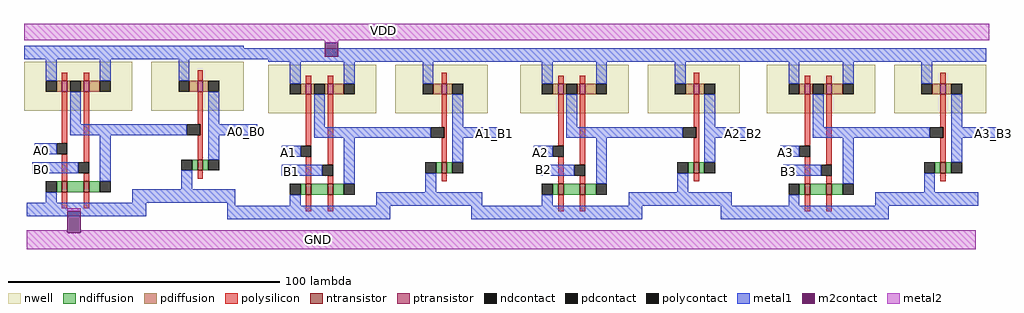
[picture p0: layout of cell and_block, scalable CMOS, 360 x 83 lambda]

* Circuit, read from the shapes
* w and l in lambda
.subckt and_block A0 A0_B0 A1 A1_B1 A2 A2_B2 A3 A3_B3 B0 B1 B2 B3 GND VDD
M1 n1 A0 GND VSUBS nfet w=4 l=2
M2 2_input_AND_0/OUT B0 n1 VSUBS nfet w=4 l=2
M3 A0_B0 2_input_AND_0/OUT GND VSUBS nfet w=4 l=2
M4 n2 A1 GND VSUBS nfet w=4 l=2
M5 2_input_AND_1/OUT B1 n2 VSUBS nfet w=4 l=2
M6 A1_B1 2_input_AND_1/OUT GND VSUBS nfet w=4 l=2
M7 n3 A2 GND VSUBS nfet w=4 l=2
M8 2_input_AND_2/OUT B2 n3 VSUBS nfet w=4 l=2
M9 A2_B2 2_input_AND_2/OUT GND VSUBS nfet w=4 l=2
M10 n4 A3 GND VSUBS nfet w=4 l=2
M11 2_input_AND_3/OUT B3 n4 VSUBS nfet w=4 l=2
M12 A3_B3 2_input_AND_3/OUT GND VSUBS nfet w=4 l=2
M13 2_input_AND_0/OUT A0 VDD n5 pfet w=4 l=2
M14 VDD B0 2_input_AND_0/OUT n5 pfet w=4 l=2
M15 A0_B0 2_input_AND_0/OUT VDD n6 pfet w=4 l=2
M16 2_input_AND_1/OUT A1 VDD n7 pfet w=4 l=2
M17 VDD B1 2_input_AND_1/OUT n7 pfet w=4 l=2
M18 A1_B1 2_input_AND_1/OUT VDD n8 pfet w=4 l=2
M19 2_input_AND_2/OUT A2 VDD n9 pfet w=4 l=2
M20 VDD B2 2_input_AND_2/OUT n9 pfet w=4 l=2
M21 A2_B2 2_input_AND_2/OUT VDD n10 pfet w=4 l=2
M22 2_input_AND_3/OUT A3 VDD n11 pfet w=4 l=2
M23 VDD B3 2_input_AND_3/OUT n11 pfet w=4 l=2
M24 A3_B3 2_input_AND_3/OUT VDD n12 pfet w=4 l=2
.ends

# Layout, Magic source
magic
tech scmos
<< metal1 >>
rect 53 62 68 66
rect 142 61 158 66
rect 236 61 252 66
rect 52 34 59 38
rect 142 33 148 37
rect 235 33 241 37
rect 325 33 333 37
rect -23 27 -16 31
rect 68 26 74 30
rect 161 26 167 30
rect 252 26 257 30
rect -24 20 -15 24
rect 68 19 76 23
rect 162 19 168 23
rect 253 19 259 23
rect 48 8 51 14
rect 138 8 142 13
rect 230 8 234 13
rect 48 3 69 8
rect 138 3 159 8
rect 230 3 250 8
<< m2contact >>
rect 84 63 89 68
rect -11 -2 -6 6
<< metal2 >>
rect -27 69 329 75
rect 84 68 89 69
rect -11 6 -6 7
rect -26 -2 -11 -1
rect -6 -2 324 -1
rect -26 -8 324 -2
use 2_input_AND  2_input_AND_0
transform 1 0 -15 0 1 34
box -12 -30 69 33
use 2_input_AND  2_input_AND_1
transform 1 0 75 0 1 33
box -12 -30 69 33
use 2_input_AND  2_input_AND_2
transform 1 0 168 0 1 33
box -12 -30 69 33
use 2_input_AND  2_input_AND_3
transform 1 0 259 0 1 33
box -12 -30 69 33
<< labels >>
rlabel metal1 -21 28 -20 29 1 A0
rlabel metal1 -21 21 -20 22 1 B0
rlabel metal1 54 35 56 36 1 A0_B0
rlabel metal1 70 27 71 28 1 A1
rlabel metal1 71 20 72 21 1 B1
rlabel metal1 146 34 147 35 1 A1_B1
rlabel metal1 163 27 164 28 1 A2
rlabel metal1 164 21 165 22 1 B2
rlabel metal1 238 34 239 35 1 A2_B2
rlabel metal1 253 27 255 28 1 A3
rlabel metal1 254 20 256 21 1 B3
rlabel metal1 330 34 331 35 7 A3_B3
rlabel metal2 105 72 106 73 5 VDD
rlabel metal2 81 -5 82 -4 1 GND
<< end >>

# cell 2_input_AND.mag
magic
tech scmos
<< nwell >>
rect -12 9 28 27
rect 35 9 69 27
<< ntransistor >>
rect 52 -13 54 -9
rect 2 -21 4 -17
rect 10 -21 12 -17
<< ptransistor >>
rect 2 16 4 20
rect 10 16 12 20
rect 52 16 54 20
<< ndiffusion >>
rect 50 -13 52 -9
rect 54 -13 56 -9
rect 0 -21 2 -17
rect 4 -21 10 -17
rect 12 -21 16 -17
<< pdiffusion >>
rect 0 16 2 20
rect 4 16 5 20
rect 9 16 10 20
rect 12 16 16 20
rect 49 16 52 20
rect 54 16 56 20
<< ndcontact >>
rect 46 -13 50 -9
rect 56 -13 60 -9
rect -4 -21 0 -17
rect 16 -21 20 -17
<< pdcontact >>
rect -4 16 0 20
rect 5 16 9 20
rect 16 16 20 20
rect 45 16 49 20
rect 56 16 60 20
<< polysilicon >>
rect 2 20 4 23
rect 10 20 12 23
rect 52 20 54 24
rect 2 -3 4 16
rect 2 -17 4 -7
rect 10 -10 12 16
rect 52 4 54 16
rect 53 0 54 4
rect 52 -9 54 0
rect 10 -17 12 -14
rect 52 -16 54 -13
rect 2 -27 4 -21
rect 10 -27 12 -21
<< polycontact >>
rect 0 -7 4 -3
rect 48 0 53 4
rect 8 -14 12 -10
<< metal1 >>
rect -12 28 69 33
rect -4 20 0 28
rect 16 20 20 28
rect 45 20 49 28
rect 5 4 9 16
rect 56 4 60 16
rect 5 0 48 4
rect 56 0 69 4
rect -3 -7 0 -3
rect -3 -14 8 -10
rect 16 -17 20 0
rect 56 -9 60 0
rect 46 -20 50 -13
rect -4 -25 0 -21
rect 28 -25 66 -20
rect -11 -30 33 -25
<< labels >>
rlabel metal1 33 30 34 31 5 VDD
rlabel metal1 -1 -5 0 -4 1 A
rlabel metal1 0 -12 1 -11 1 B
rlabel metal1 37 1 38 2 1 OUT
rlabel metal1 65 2 66 3 7 OUT_FINAL
rlabel metal1 24 -29 25 -28 1 GND
<< end >>
